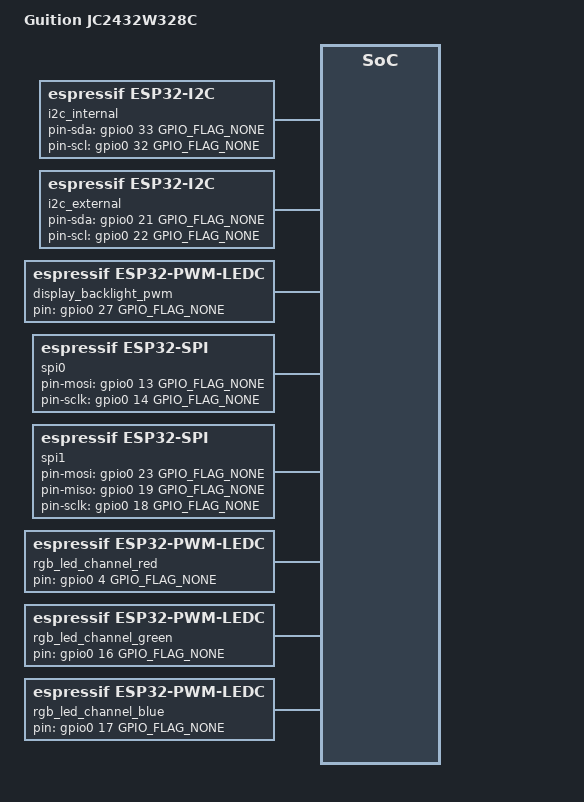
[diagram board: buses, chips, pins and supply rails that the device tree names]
/dts-v1/;

#include <tactility/bindings/root.h>
#include <tactility/bindings/esp32_gpio.h>
#include <tactility/bindings/esp32_i2c.h>
#include <tactility/bindings/esp32_pwm_ledc.h>
#include <tactility/bindings/esp32_spi.h>
#include <tactility/bindings/esp32_uart.h>
#include <tactility/bindings/esp32_sdspi.h>
#include <tactility/bindings/esp32_wifi_pinned.h>
#include <tactility/bindings/pwm_backlight.h>
#include <tactility/bindings/rgb_led_pwm.h>
#include <bindings/st7789.h>
#include <bindings/cst816s.h>

/ {
	compatible = "root";
	model = "Guition JC2432W328C";

	wifi0 {
		compatible = "espressif,esp32-wifi-pinned";
		status = "disabled";
	};

	gpio0 {
		compatible = "espressif,esp32-gpio";
		gpio-count = <40>;
	};

	i2c_internal: i2c0 {
		compatible = "espressif,esp32-i2c";
		port = <I2C_NUM_0>;
		clock-frequency = <400000>;
		pin-sda = <&gpio0 33 GPIO_FLAG_NONE>;
		pin-scl = <&gpio0 32 GPIO_FLAG_NONE>;

		touch {
			compatible = "hynitron,cst816s";
			reg = <0x15>;
			x-max = <240>;
			y-max = <320>;
		};
	};

	// CN1 header
	i2c_external: i2c1 {
		compatible = "espressif,esp32-i2c";
		port = <I2C_NUM_1>;
		clock-frequency = <400000>;
		pin-sda = <&gpio0 21 GPIO_FLAG_NONE>;
		pin-scl = <&gpio0 22 GPIO_FLAG_NONE>;
	};

	display_backlight_pwm {
		compatible = "espressif,esp32-pwm-ledc";
		pin = <&gpio0 27 GPIO_FLAG_NONE>;
		period-ns = <25000>;
		ledc-timer = <1>;
		ledc-channel = <3>;
	};

	display_backlight {
		compatible = "pwm-backlight";
		// Off by default so display power-on won't show the screen from before the last power loss.
		// The display backlight is turned on during the boot process.
		status = "disabled";
		pwm = <&display_backlight_pwm>;
	};

	spi0 {
		compatible = "espressif,esp32-spi";
		host = <SPI2_HOST>;
		cs-gpios = <&gpio0 15 GPIO_FLAG_NONE>;
		pin-mosi = <&gpio0 13 GPIO_FLAG_NONE>;
		pin-sclk = <&gpio0 14 GPIO_FLAG_NONE>;

		display@0 {
			compatible = "sitronix,st7789";
			horizontal-resolution = <240>;
			vertical-resolution = <320>;
			pixel-clock-hz = <62500000>;
			pin-dc = <&gpio0 2 GPIO_FLAG_NONE>;
			backlight = <&display_backlight>;
		};
	};

	spi1 {
		compatible = "espressif,esp32-spi";
		host = <SPI3_HOST>;
		cs-gpios = <&gpio0 5 GPIO_FLAG_NONE>;
		pin-mosi = <&gpio0 23 GPIO_FLAG_NONE>;
		pin-miso = <&gpio0 19 GPIO_FLAG_NONE>;
		pin-sclk = <&gpio0 18 GPIO_FLAG_NONE>;
	
		sdcard@0 {
			compatible = "espressif,esp32-sdspi";
			frequency-khz = <20000>;
		};
	};

	// CN1 header, JST SH 1.25, GND / IO22 / IO21 / 3.3V
	uart1 {
		compatible = "espressif,esp32-uart";
		status = "disabled";
		port = <UART_NUM_1>;
		pin-tx = <&gpio0 22 GPIO_FLAG_NONE>;
		pin-rx = <&gpio0 21 GPIO_FLAG_NONE>;
	};

	rgb_led_channel_red {
		compatible = "espressif,esp32-pwm-ledc";
		pin = <&gpio0 4 GPIO_FLAG_NONE>;
		period-ns = <500000>;
		ledc-timer = <0>;
		ledc-channel = <0>;
		inverted;
	};

	rgb_led_channel_green {
		compatible = "espressif,esp32-pwm-ledc";
		pin = <&gpio0 16 GPIO_FLAG_NONE>;
		period-ns = <500000>;
		ledc-timer = <0>;
		ledc-channel = <1>;
		inverted;
	};

	rgb_led_channel_blue {
		compatible = "espressif,esp32-pwm-ledc";
		pin = <&gpio0 17 GPIO_FLAG_NONE>;
		period-ns = <500000>;
		ledc-timer = <0>;
		ledc-channel = <2>;
		inverted;
	};

	rgb_led_pwm {
		compatible = "rgb-led-pwm";
		pwm-red = <&rgb_led_channel_red>;
		pwm-green = <&rgb_led_channel_green>;
		pwm-blue = <&rgb_led_channel_blue>;
		// Default is red, and we want to reset it to off by default
		default-color = <0 0 0>;
		enabled;
	};
};
